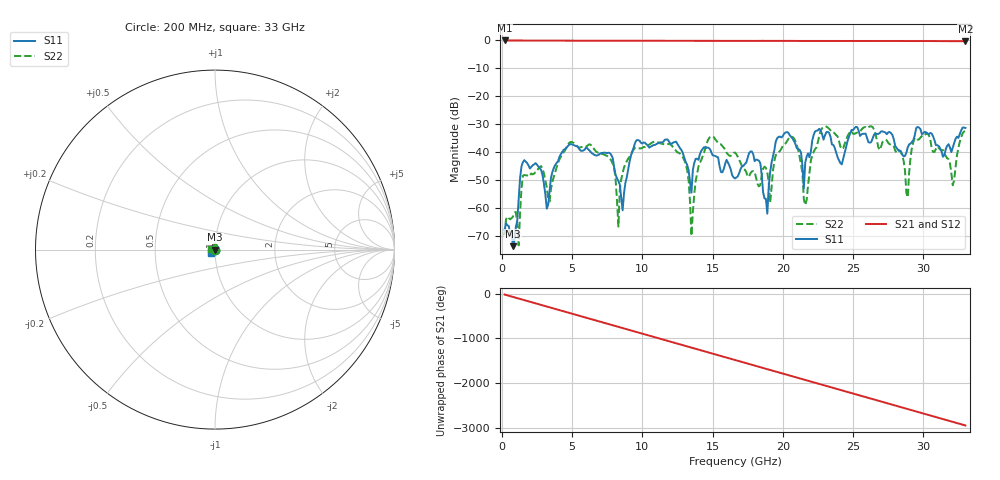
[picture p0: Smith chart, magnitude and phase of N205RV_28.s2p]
# GHZ S RI R 50
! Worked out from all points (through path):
!   329 points, 200 MHz to 33 GHz, reference 50 ohm
!   highest |S21| = -0.02 dB at 200 MHz (marker M1); lowest = -0.3 dB at 33 GHz (marker M2)
!   group delay of S21, straight-line fit = 248 ps
!   lowest |S11| = -73.7 dB at 800 MHz (marker M3), VSWR 1.00, Z = 50 + j0.0119 ohm
!   |S11| at or under -10 dB: start of sweep to end of sweep
!   |S22| runs from -73.4 to -30.8 dB; largest |S21 - S12| = 0.0019
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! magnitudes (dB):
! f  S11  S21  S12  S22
! 200 MHz  -67.8  0.0  0.0  -69.7
! 800 MHz  -73.7  0.0  0.0  -63.0
! 1.2 GHz  -56.7  0.0  0.0  -73.4
! 1.6 GHz  -42.9  0.0  0.0  -48.2
! 3.2 GHz  -60.2  -0.1  -0.1  -52.6
! 5.7 GHz  -39.6  -0.1  -0.1  -38.2
! 7.8 GHz  -41.1  -0.1  -0.1  -43.1
! 8.3 GHz  -50.3  -0.1  -0.1  -66.7
! 11.2 GHz  -36.6  -0.1  -0.1  -36.7
! 13.1 GHz  -43.6  -0.2  -0.2  -44.4
! 13.5 GHz  -54.5  -0.2  -0.2  -70.0
! 14.7 GHz  -38.4  -0.2  -0.2  -35.4
! 16.6 GHz  -49.4  -0.2  -0.2  -40.2
! 18.9 GHz  -62.1  -0.2  -0.2  -47.1
! 19.6 GHz  -35.1  -0.2  -0.2  -40.8
! 21.6 GHz  -43.8  -0.2  -0.2  -59.0
! 22.1 GHz  -35.8  -0.2  -0.2  -41.2
! 27.6 GHz  -32.8  -0.2  -0.2  -37.1
! 28.9 GHz  -38.2  -0.2  -0.2  -56.2
! 29.4 GHz  -33.9  -0.2  -0.2  -34.8
! 32.1 GHz  -38.3  -0.3  -0.3  -51.9
! 33 GHz  -31.3  -0.3  -0.3  -32.4
